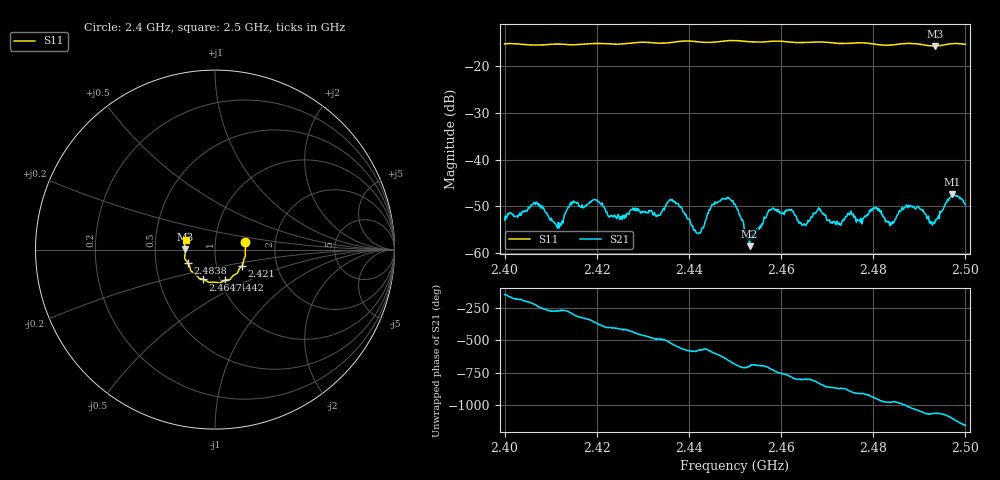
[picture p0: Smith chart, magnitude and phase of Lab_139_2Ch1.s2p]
# Hz S RI R 50
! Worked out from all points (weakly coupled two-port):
!   601 points, 2.4 GHz to 2.5 GHz, reference 50 ohm
!   highest |S21| = -47.42 dB at 2.4972 GHz (marker M1); lowest = -58.5 dB at 2.4532 GHz (marker M2)
!   lowest |S11| = -15.6 dB at 2.4935 GHz (marker M3), VSWR 1.40, Z = 35.8 + j0.197 ohm
!   |S11| at or under -10 dB: start of sweep to end of sweep
!   S12 and S22 are empty: the file has one direction only
!   S11 on the Smith chart (normalised r, x): 2.4 GHz: 1.40, +0.12; 2.421 GHz: 1.33, -0.24; 2.4442 GHz: 1.05, -0.37; 2.4647 GHz: 0.83, -0.28; 2.4838 GHz: 0.73, -0.11; 2.5 GHz: 0.71, +0.08
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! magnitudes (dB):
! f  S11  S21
! 2.4 GHz  -15.2  -52.9
! 2.4068 GHz  -15.4  -49.0
! 2.4117 GHz  -15.2  -53.4
! 2.4147 GHz  -15.4  -49.0
! 2.4167 GHz  -15.3  -50.2
! 2.421 GHz  -15.1  -49.6
! 2.4333 GHz  -15.0  -51.8
! 2.4365 GHz  -14.9  -48.9
! 2.442 GHz  -14.8  -55.8
! 2.4442 GHz  -14.9  -51.6
! 2.45 GHz  -14.5  -49.6
! 2.4532 GHz  -14.7  -58.5
! 2.4578 GHz  -14.7  -50.6
! 2.4647 GHz  -14.9  -54.0
! 2.4667 GHz  -14.8  -52.3
! 2.4803 GHz  -15.3  -50.2
! 2.4833 GHz  -15.5  -53.2
! 2.4838 GHz  -15.5  -53.4
! 2.4877 GHz  -15.1  -49.7
! 2.4935 GHz  -15.6  -52.9
! 2.4972 GHz  -15.1  -47.4
! 2.5 GHz  -15.3  -49.6
